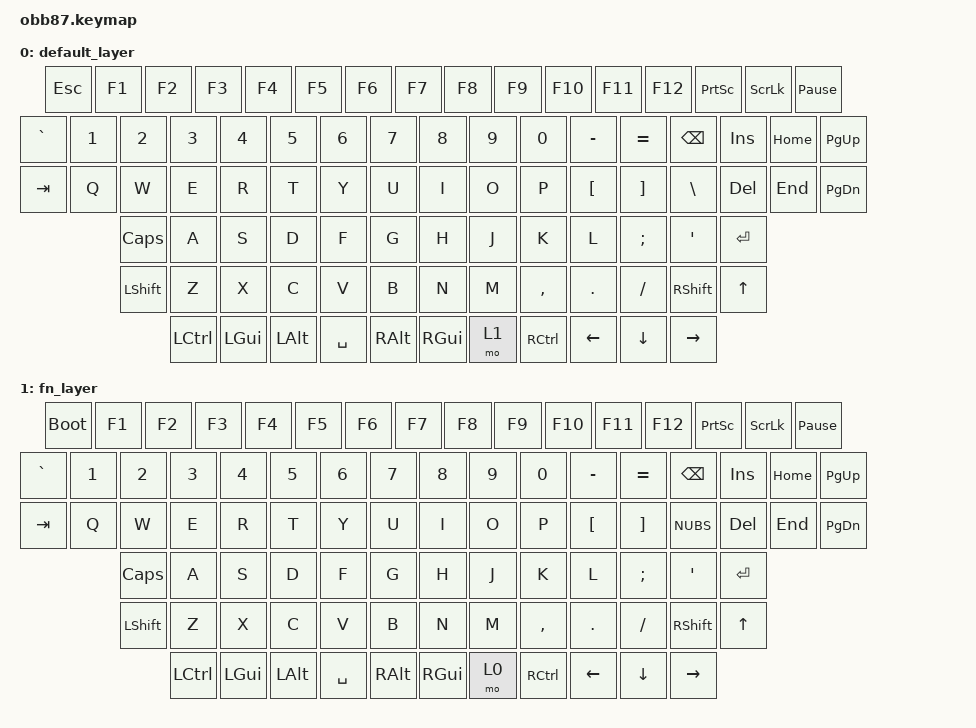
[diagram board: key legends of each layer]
/*
 * Copyright (c) 2020 The ZMK Contributors
 *
 * SPDX-License-Identifier: MIT
 */

#include <behaviors.dtsi>
#include <dt-bindings/zmk/keys.h>
#include <dt-bindings/zmk/rgb.h>
#include <dt-bindings/zmk/bt.h>
#include <dt-bindings/zmk/outputs.h>
#include <dt-bindings/zmk/ext_power.h>
#include <dt-bindings/zmk/mouse.h>


/ {
    keymap {
        compatible = "zmk,keymap";

        default_layer {
            bindings = <
          &kp ESC            &kp F1  &kp F2  &kp F3  &kp F4     &kp F5  &kp F6  &kp F7  &kp F8       &kp F9  &kp F10  &kp F11  &kp F12       &kp PSCRN  &kp SLCK  &kp PAUSE_BREAK
          &kp GRAVE  &kp N1  &kp N2  &kp N3  &kp N4  &kp N5  &kp N6  &kp N7  &kp N8  &kp N9  &kp N0  &kp MINUS  &kp EQUAL      &kp BSPC      &kp INS    &kp HOME  &kp PG_UP
          &kp TAB       &kp Q   &kp W   &kp E   &kp R   &kp T   &kp Y   &kp U   &kp I   &kp O   &kp P   &kp LBKT   &kp RBKT    &kp BSLH      &kp DEL    &kp END   &kp PG_DN
          &kp CAPS       &kp A   &kp S   &kp D   &kp F   &kp G   &kp H   &kp J   &kp K   &kp L   &kp SEMI &kp SQT              &kp RET
          &kp LSHFT         &kp Z   &kp X   &kp C   &kp V   &kp B   &kp N   &kp M   &kp COMMA  &kp DOT  &kp FSLH               &kp RSHFT                &kp UP
          &kp LCTRL  &kp LGUI  &kp LALT                &kp SPACE                                   &kp RALT  &kp RGUI  &mo 1   &kp RCTRL     &kp LEFT   &kp DOWN  &kp RIGHT
            >;
        };

        fn_layer {
            bindings = <
          &bootloader        &kp F1  &kp F2  &kp F3  &kp F4     &kp F5  &kp F6  &kp F7  &kp F8       &kp F9  &kp F10  &kp F11  &kp F12       &kp PSCRN  &kp SLCK  &kp PAUSE_BREAK
          &kp GRAVE  &kp N1  &kp N2  &kp N3  &kp N4  &kp N5  &kp N6  &kp N7  &kp N8  &kp N9  &kp N0  &kp MINUS  &kp EQUAL      &kp BSPC      &kp INS    &kp HOME  &kp PG_UP
          &kp TAB       &kp Q   &kp W   &kp E   &kp R   &kp T   &kp Y   &kp U   &kp I   &kp O   &kp P   &kp LBKT   &kp RBKT    &kp NUBS      &kp DEL    &kp END   &kp PG_DN
          &kp CAPS       &kp A   &kp S   &kp D   &kp F   &kp G   &kp H   &kp J   &kp K   &kp L   &kp SEMI &kp SQT              &kp RET
          &kp LSHFT         &kp Z   &kp X   &kp C   &kp V   &kp B   &kp N   &kp M   &kp COMMA  &kp DOT  &kp FSLH               &kp RSHFT                &kp UP
          &kp LCTRL  &kp LGUI  &kp LALT                &kp SPACE                                   &kp RALT  &kp RGUI  &mo 0   &kp RCTRL     &kp LEFT   &kp DOWN  &kp RIGHT
            >;
        };
    };
};
